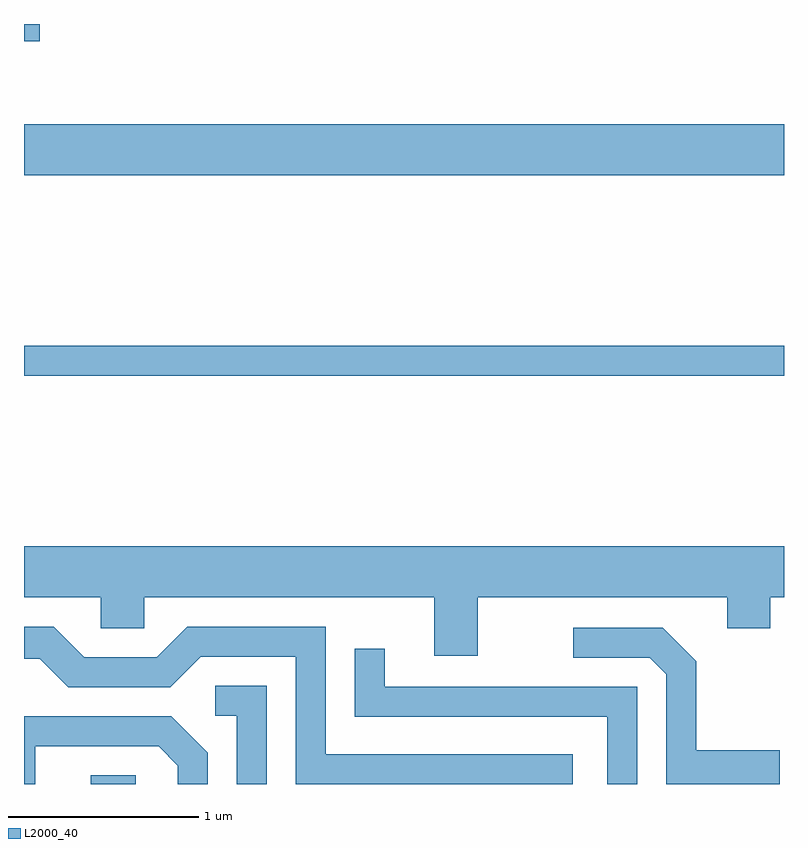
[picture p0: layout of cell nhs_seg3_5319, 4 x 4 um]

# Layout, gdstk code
import gdstk
lib = gdstk.Library(unit=1e-6, precision=1e-09)
def R(c, l, rs):  # rectangles x0, y0, x1, y1
    for r in rs: c.add(gdstk.rectangle(r[:2], r[2:], *l))
def P(c, l, *ps):  # polygons
    for p in ps: c.add(gdstk.Polygon(p, *l))
L2000_40 = (2000, 40)

nhs_seg3_5319 = lib.new_cell('nhs_seg3_5319')
R(nhs_seg3_5319, L2000_40, [(341.961,1153.892,342.199,1153.939), (341.611,1156.041,345.611,1156.199), (341.611,1157.096,345.611,1157.364), (341.611,1157.801,341.694,1157.892)])
P(nhs_seg3_5319, L2000_40, [(343.999,1154.876),(345.311,1154.876),(345.311,1154.711),(345.539,1154.711),(345.539,1154.876),(345.611,1154.876),(345.611,1155.144),(341.611,1155.144),(341.611,1154.876),(342.016,1154.876),(342.016,1154.711),(342.244,1154.711),(342.244,1154.876),(343.771,1154.876),(343.771,1154.566),(343.999,1154.566)],
  [(344.499,1154.049),(343.199,1154.049),(343.199,1154.719),(342.469,1154.719),(342.309,1154.559),(341.927,1154.559),(341.767,1154.719),(341.611,1154.719),(341.611,1154.551),(341.694,1154.551),(341.844,1154.401),(342.382,1154.401),(342.542,1154.561),(343.041,1154.561),(343.041,1153.892),(344.499,1153.892)],
  [(345.589,1154.069),(345.149,1154.069),(345.149,1154.537),(344.972,1154.714),(344.503,1154.714),(344.503,1154.556),(344.904,1154.556),(344.991,1154.469),(344.991,1153.892),(345.589,1153.892)],
  [(344.839,1154.404),(343.509,1154.404),(343.509,1154.603),(343.351,1154.603),(343.351,1154.246),(344.681,1154.246),(344.681,1153.892),(344.839,1153.892)],
  [(342.889,1154.409),(342.618,1154.409),(342.618,1154.251),(342.731,1154.251),(342.731,1153.892),(342.889,1153.892)],
  [(341.669,1154.091),(342.319,1154.091),(342.421,1153.989),(342.421,1153.892),(342.579,1153.892),(342.579,1154.057),(342.387,1154.249),(341.611,1154.249),(341.611,1153.892),(341.669,1153.892)])

lib.write_gds('nhs_seg3_5319.gds')
